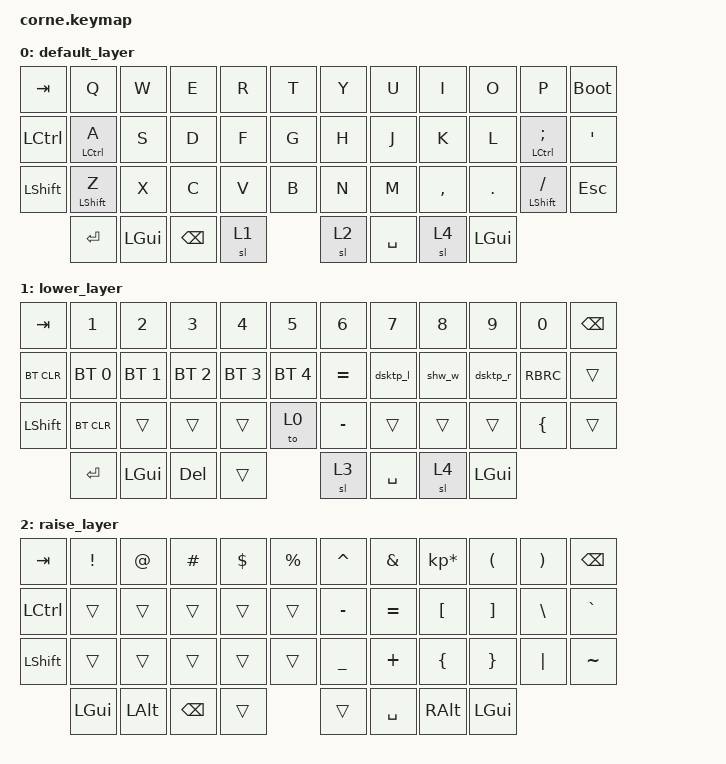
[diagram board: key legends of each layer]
/*
 * Copyright (c) 2020 The ZMK Contributors
 *
 * SPDX-License-Identifier: MIT
 */

#include <behaviors.dtsi>
#include <dt-bindings/zmk/keys.h>
#include <dt-bindings/zmk/bt.h>

&sl {
    release-after-ms = <200>;
};

/ {
        combos {
                compatible = "zmk,combos";
                combo_esc {
                timeout-ms = <50>;
                key-positions = <8 9>;
                bindings = <&kp ESC>;
                };
                combo_tab {
                timeout-ms = <50>;
                key-positions = <9 10>;
                bindings = <&kp TAB>;
                };
        
        };
        macros {
                dsktp_l: dsktp_l {
                        compatible = "zmk,behavior-macro";
                        #binding-cells = <0>;
                        bindings
                                = <&macro_press &kp LGUI &kp LCTRL>
                                , <&macro_tap &kp LEFT>
                                , <&macro_release &kp LGUI &kp LCTRL>
                                ;
                };
                dsktp_r: dsktp_r {
                        compatible = "zmk,behavior-macro";
                        #binding-cells = <0>;
                        bindings
                                = <&macro_press &kp LGUI &kp LCTRL>
                                , <&macro_tap &kp RIGHT>
                                , <&macro_release &kp LGUI &kp LCTRL>
                                ;
                };
                shw_w: shw_w {
                        compatible = "zmk,behavior-macro";
                        #binding-cells = <0>;
                        bindings
                                = <&macro_press &kp LGUI>
                                , <&macro_tap &kp TAB>
                                , <&macro_release &kp LGUI>
                                ;
                };
        };
        keymap {
                compatible = "zmk,keymap";

                default_layer {
// -----------------------------------------------------------------------------------------
// |  TAB |  Q  |  W  |  E  |  R  |  T  |   |  Y  |  U   |  I  |  O  |  P  | BKSP |
// | CTRL |  A  |  S  |  D  |  F  |  G  |   |  H  |  J   |  K  |  L  |  ;  |  '   |
// | SHFT |  Z  |  X  |  C  |  V  |  B  |   |  N  |  M   |  ,  |  .  |  /  | ESC  |
//              | GUI | ALT | BKSP|  1  |   |  2  | SPC  | RALT| GUI |
                        bindings = <
   &kp TAB   &kp Q       &kp W &kp E &kp R &kp T   &kp Y &kp U  &kp I     &kp O   &kp P          &bootloader
   &kp LCTRL &mt LCTRL A &kp S &kp D &kp F &kp G   &kp H &kp J  &kp K     &kp L   &mt LCTRL SEMI &kp SQT
   &kp LSHFT &mt LSHFT Z &kp X &kp C &kp V &kp B   &kp N &kp M  &kp COMMA &kp DOT &mt LSHFT FSLH &kp ESC
                 &kp RET &kp LGUI &kp BSPC &sl 1   &sl 2 &kp SPACE &sl 4 &kp LGUI
                        >;
                };
                lower_layer {
// -----------------------------------------------------------------------------------------
// |  TAB |  1  |  2  |  3  |  4  |  5  |   |  6  |  7  |  8  |  9  |  0  | BKSP |
// | BTCLR| BT1 | BT2 | BT3 | BT4 | BT5 |   | LFT | DWN |  UP | RGT |     |      |
// | SHFT |     |     |     |     |     |   |     |     |     |     |     |      |
//              | GUI | ALT | BKSP|  1  |   |  2  | SPC | RALT| GUI |

                        bindings = <
   &kp TAB    &kp N1       &kp N2       &kp N3       &kp N4       &kp N5         &kp N6    &kp N7    &kp N8   &kp N9   &kp N0   &kp BSPC
   &bt BT_CLR &bt BT_SEL 0 &bt BT_SEL 1 &bt BT_SEL 2 &bt BT_SEL 3 &bt BT_SEL 4   &kp EQUAL &dsktp_l  &shw_w   &dsktp_r &RBRC    &trans
   &kp LSHFT  &bt BT_CLR   &trans       &trans       &trans       &to 0          &kp MINUS &trans    &trans   &trans   &kp LBRC &trans
                           &kp RET      &kp LGUI     &kp DEL      &trans         &sl 3     &kp SPACE &sl 4    &kp LGUI
                        >;
                };

                raise_layer {
// -----------------------------------------------------------------------------------------
// |  TAB |  !  |  @  |  #  |  $  |  %  |   |  ^  |  &  |  *  |  (  |  )  | BKSP |
// | CTRL |     |     |     |     |     |   |  -  |  =  |  [  |  ]  |  \  |  `   |
// | SHFT |     |     |     |     |     |   |  _  |  +  |  {  |  }  | "|" |  ~   |
//              | GUI | ALT | BKSP|  1  |   |  2  | SPC | RALT| GUI |
                        bindings = <
   &kp  TAB  &kp EXCL &kp AT   &kp HASH &kp DLLR &kp PRCNT   &kp CARET &kp AMPS  &kp KP_MULTIPLY &kp LPAR &kp RPAR &kp BSPC
   &kp LCTRL &trans   &trans   &trans   &trans   &trans      &kp MINUS &kp EQUAL &kp LBKT        &kp RBKT &kp BSLH &kp GRAVE
   &kp LSHFT &trans   &trans   &trans   &trans   &trans      &kp UNDER &kp PLUS  &kp LBRC        &kp RBRC &kp PIPE &kp TILDE
                      &kp LGUI &kp LALT &kp BSPC    &trans    &trans    &kp SPACE       &kp RALT &kp LGUI

                        >;
                };
        };
};
